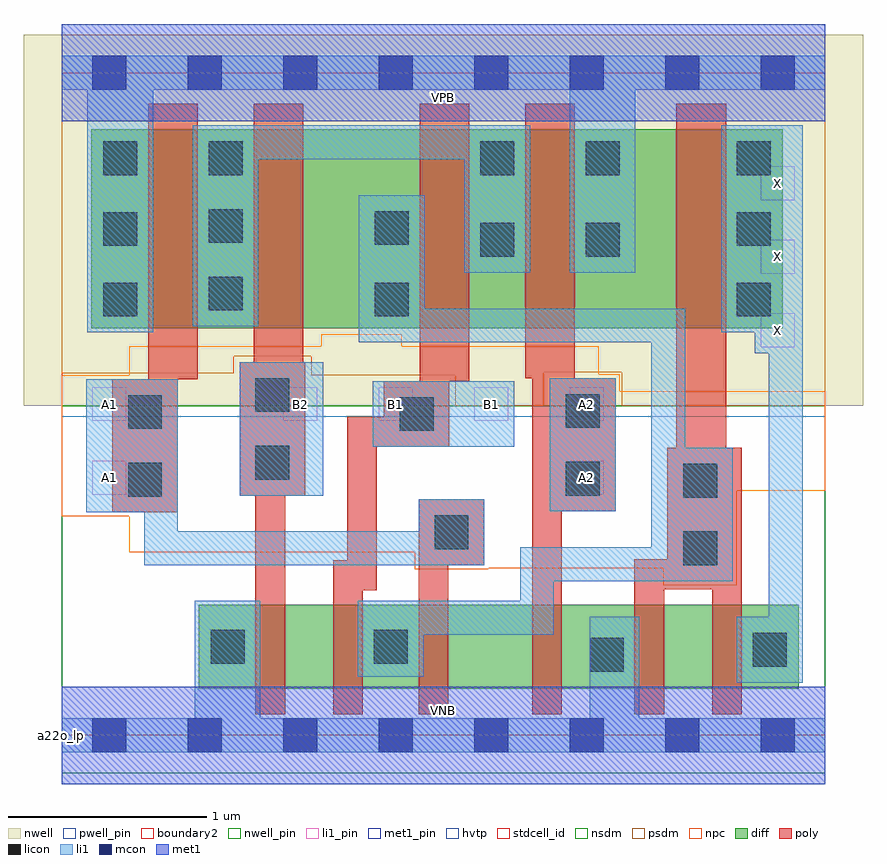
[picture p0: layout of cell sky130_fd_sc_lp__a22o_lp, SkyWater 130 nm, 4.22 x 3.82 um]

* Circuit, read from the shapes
.subckt sky130_fd_sc_lp__a22o_lp A1 A2 B1 B2 VGND VNB VPB VPWR X
XM1 n1 B2 VGND VNB sky130_fd_pr__nfet_01v8 w=0.42 l=0.15
XM2 n2 B1 n1 VNB sky130_fd_pr__nfet_01v8 w=0.42 l=0.15
XM3 n3 A1 n2 VNB sky130_fd_pr__nfet_01v8 w=0.42 l=0.15
XM4 VGND A2 n3 VNB sky130_fd_pr__nfet_01v8 w=0.42 l=0.15
XM5 n4 n2 VGND VNB sky130_fd_pr__nfet_01v8 w=0.42 l=0.15
XM6 X n2 n4 VNB sky130_fd_pr__nfet_01v8 w=0.42 l=0.15
XM7 n5 A1 VPWR VPB sky130_fd_pr__pfet_01v8_hvt w=1 l=0.25
XM8 n2 B2 n5 VPB sky130_fd_pr__pfet_01v8_hvt w=1 l=0.25
XM9 n5 B1 n2 VPB sky130_fd_pr__pfet_01v8_hvt w=1 l=0.25
XM10 VPWR A2 n5 VPB sky130_fd_pr__pfet_01v8_hvt w=1 l=0.25
XM11 X n2 VPWR VPB sky130_fd_pr__pfet_01v8_hvt w=1 l=0.25
.ends

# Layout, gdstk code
import gdstk
lib = gdstk.Library(unit=1e-6, precision=1e-09)
def R(c, l, rs):  # rectangles x0, y0, x1, y1
    for r in rs: c.add(gdstk.rectangle(r[:2], r[2:], *l))
def A(c, l, x, y, w, h, nx, ny, dx, dy):  # array of equal rectangles
    R(c, l, [(x+i*dx, y+j*dy, x+i*dx+w, y+j*dy+h) for i in range(nx) for j in range(ny)])
def P(c, l, *ps):  # polygons
    for p in ps: c.add(gdstk.Polygon(p, *l))
nwell_pin = (64, 16)
nwell = (64, 20)
diff = (65, 20)
poly = (66, 20)
licon = (66, 44)
li1_pin = (67, 16)
li1 = (67, 20)
mcon = (67, 44)
met1_pin = (68, 16)
met1 = (68, 20)
hvtp = (78, 44)
stdcell_id = (81, 4)
nsdm = (93, 44)
psdm = (94, 20)
npc = (95, 20)
pwell_pin = (122, 16)
boundary2 = (236, 0)

sky130_fd_sc_lp__a22o_lp = lib.new_cell('sky130_fd_sc_lp__a22o_lp')
R(sky130_fd_sc_lp__a22o_lp, nwell_pin, [(0,3.085,3.84,3.33)])
R(sky130_fd_sc_lp__a22o_lp, nwell, [(-0.19,1.655,4.03,3.52)])
R(sky130_fd_sc_lp__a22o_lp, diff, [(0.69,0.235,3.705,0.655), (0.15,2.045,3.625,3.045)])
P(sky130_fd_sc_lp__a22o_lp, poly, [(0.685,3.175),(0.435,3.175),(0.435,1.79),(0.255,1.79),(0.255,1.12),(0.585,1.12),(0.585,1.79),(0.685,1.79)],
  [(1.225,1.875),(1.215,1.875),(1.215,3.175),(0.965,3.175),(0.965,1.875),(0.895,1.875),(0.895,1.205),(0.975,1.205),(0.975,0.105),(1.125,0.105),(1.125,1.205),(1.225,1.205)],
  [(2.05,3.175),(1.8,3.175),(1.8,1.78),(1.62,1.78),(1.62,1.6),(1.435,1.6),(1.435,0.88),(1.365,0.88),(1.365,0.105),(1.515,0.105),(1.515,0.73),(1.585,0.73),(1.585,1.45),(1.95,1.45),(1.95,1.78),(2.05,1.78)],
  [(2.125,1.185),(1.795,1.185),(1.795,0.105),(1.945,0.105),(1.945,0.855),(2.125,0.855)],
  [(2.785,1.795),(2.58,1.795),(2.58,3.175),(2.33,3.175),(2.33,1.795),(2.365,1.795),(2.365,0.105),(2.515,0.105),(2.515,1.125),(2.785,1.125)],
  [(3.42,1.445),(3.34,1.445),(3.34,3.175),(3.09,3.175),(3.09,1.445),(3.045,1.445),(3.045,0.885),(2.88,0.885),(2.88,0.105),(3.03,0.105),(3.03,0.735),(3.27,0.735),(3.27,0.105),(3.42,0.105)])
A(sky130_fd_sc_lp__a22o_lp, licon, 0.21, 2.105, 0.17, 0.17, 1, 3, 0, 0.355)
A(sky130_fd_sc_lp__a22o_lp, licon, 3.395, 2.105, 0.17, 0.17, 1, 3, 0, 0.355)
A(sky130_fd_sc_lp__a22o_lp, licon, 0.74, 2.135, 0.17, 0.17, 1, 3, 0, 0.34)
R(sky130_fd_sc_lp__a22o_lp, licon, [(2.655,0.32,2.825,0.49), (3.475,0.345,3.645,0.515), (0.75,0.36,0.92,0.53), (1.57,0.36,1.74,0.53), (3.125,0.855,3.295,1.025), (1.875,0.935,2.045,1.105), (3.125,1.195,3.295,1.365), (0.335,1.2,0.505,1.37), (2.535,1.205,2.705,1.375), (0.975,1.285,1.145,1.455), (1.7,1.53,1.87,1.7), (0.335,1.54,0.505,1.71), (2.535,1.545,2.705,1.715), (0.975,1.625,1.145,1.795), (1.575,2.105,1.745,2.275), (2.105,2.405,2.275,2.575), (2.635,2.405,2.805,2.575), (1.575,2.465,1.745,2.635), (2.105,2.815,2.275,2.985), (2.635,2.815,2.805,2.985)])
A(sky130_fd_sc_lp__a22o_lp, li1_pin, 1.115, 1.58, 0.17, 0.17, 4, 1, 0.48, 0)
A(sky130_fd_sc_lp__a22o_lp, li1_pin, 3.515, 1.95, 0.17, 0.17, 1, 3, 0, 0.37)
R(sky130_fd_sc_lp__a22o_lp, li1_pin, [(0.155,1.21,0.325,1.38), (2.555,1.21,2.725,1.38), (0.155,1.58,0.325,1.75)])
R(sky130_fd_sc_lp__a22o_lp, li1, [(2.455,1.125,2.785,1.795), (0.895,1.205,1.315,1.875), (1.565,1.45,2.275,1.78)])
P(sky130_fd_sc_lp__a22o_lp, li1, [(0.13,2.025),(0.13,3.245),(0,3.245),(0,3.415),(3.84,3.415),(3.84,3.245),(2.885,3.245),(2.885,2.325),(2.555,2.325),(2.555,3.245),(0.46,3.245),(0.46,2.025)],
  [(0.67,0.085),(0.67,0.675),(1,0.675),(1,0.085),(2.655,0.085),(2.655,0.595),(2.905,0.595),(2.905,0.085),(3.84,0.085),(3.84,-0.085),(0,-0.085),(0,0.085)],
  [(0.125,1.12),(0.125,1.79),(0.585,1.79),(0.585,1.025),(1.795,1.025),(1.795,1.185),(2.125,1.185),(2.125,0.855),(0.415,0.855),(0.415,1.12)],
  [(3.555,0.595),(3.555,1.92),(3.485,1.92),(3.485,2.025),(3.315,2.025),(3.315,3.065),(3.725,3.065),(3.725,0.265),(3.395,0.265),(3.395,0.595)],
  [(1.825,2.145),(3.135,2.145),(3.135,1.445),(3.375,1.445),(3.375,0.775),(2.475,0.775),(2.475,0.505),(1.82,0.505),(1.82,0.295),(1.49,0.295),(1.49,0.675),(2.305,0.675),(2.305,0.945),(2.965,0.945),(2.965,1.975),(1.495,1.975),(1.495,2.715),(1.825,2.715)],
  [(2.025,2.325),(2.025,2.895),(0.99,2.895),(0.99,2.055),(0.66,2.055),(0.66,3.065),(2.355,3.065),(2.355,2.325)])
A(sky130_fd_sc_lp__a22o_lp, mcon, 0.155, -0.085, 0.17, 0.17, 8, 2, 0.48, 3.33)
R(sky130_fd_sc_lp__a22o_lp, met1_pin, [(0,0,3.84,0.245), (0,3.085,3.84,3.33)])
R(sky130_fd_sc_lp__a22o_lp, met1, [(0,-0.245,3.84,0.245), (0,3.085,3.84,3.575)])
R(sky130_fd_sc_lp__a22o_lp, hvtp, [(0,1.6,3.84,3.33)])
R(sky130_fd_sc_lp__a22o_lp, stdcell_id, [(0,0,3.84,3.33)])
R(sky130_fd_sc_lp__a22o_lp, nsdm, [(0,-0.19,3.84,1.655)])
P(sky130_fd_sc_lp__a22o_lp, psdm, [(3.84,3.52),(0,3.52),(0,1.82),(0.865,1.82),(0.865,1.905),(1.255,1.905),(1.255,1.81),(1.98,1.81),(1.98,1.655),(2.425,1.655),(2.425,1.825),(2.815,1.825),(2.815,1.655),(3.84,1.655)])
P(sky130_fd_sc_lp__a22o_lp, npc, [(3.84,1.73),(2.805,1.73),(2.805,1.815),(2.7,1.815),(2.7,1.955),(1.71,1.955),(1.71,2.015),(1.305,2.015),(1.305,1.955),(0.34,1.955),(0.34,1.81),(0,1.81),(0,1.1),(0.34,1.1),(0.34,0.92),(1.775,0.92),(1.775,0.835),(2.145,0.835),(2.145,0.84),(3.025,0.84),(3.025,0.755),(3.395,0.755),(3.395,1.23),(3.84,1.23)])
R(sky130_fd_sc_lp__a22o_lp, pwell_pin, [(0,0,3.84,0.245)])
R(sky130_fd_sc_lp__a22o_lp, boundary2, [(0,0,3.84,3.33)])
sky130_fd_sc_lp__a22o_lp.add(gdstk.Label('VNB', (1.92,0.123), layer=64, texttype=59))
sky130_fd_sc_lp__a22o_lp.add(gdstk.Label('VPB', (1.92,3.208), layer=64, texttype=5))
sky130_fd_sc_lp__a22o_lp.add(gdstk.Label('a22o_lp', (0,0), layer=83, texttype=44))
sky130_fd_sc_lp__a22o_lp.add(gdstk.Label('VPWR', (1.92,3.208), layer=68, texttype=5))
sky130_fd_sc_lp__a22o_lp.add(gdstk.Label('VGND', (1.92,0.123), layer=68, texttype=5))
sky130_fd_sc_lp__a22o_lp.add(gdstk.Label('B2', (1.2,1.665), layer=67, texttype=5))
sky130_fd_sc_lp__a22o_lp.add(gdstk.Label('B1', (1.68,1.665), layer=67, texttype=5))
sky130_fd_sc_lp__a22o_lp.add(gdstk.Label('B1', (2.16,1.665), layer=67, texttype=5))
sky130_fd_sc_lp__a22o_lp.add(gdstk.Label('A2', (2.64,1.295), layer=67, texttype=5))
sky130_fd_sc_lp__a22o_lp.add(gdstk.Label('A2', (2.64,1.665), layer=67, texttype=5))
sky130_fd_sc_lp__a22o_lp.add(gdstk.Label('A1', (0.24,1.295), layer=67, texttype=5))
sky130_fd_sc_lp__a22o_lp.add(gdstk.Label('A1', (0.24,1.665), layer=67, texttype=5))
sky130_fd_sc_lp__a22o_lp.add(gdstk.Label('X', (3.6,2.035), layer=67, texttype=5))
sky130_fd_sc_lp__a22o_lp.add(gdstk.Label('X', (3.6,2.405), layer=67, texttype=5))
sky130_fd_sc_lp__a22o_lp.add(gdstk.Label('X', (3.6,2.775), layer=67, texttype=5))

lib.write_gds('sky130_fd_sc_lp__a22o_lp.gds')
